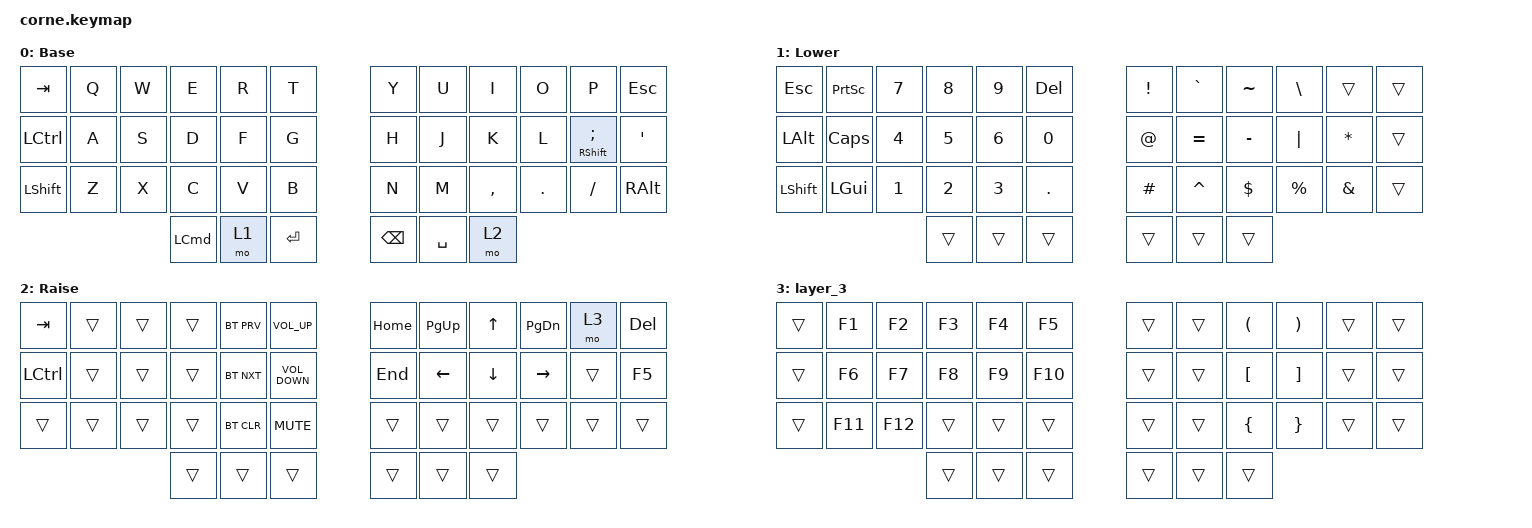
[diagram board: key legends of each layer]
/*
 * Copyright (c) 2020 The ZMK Contributors
 *
 * SPDX-License-Identifier: MIT
 */

#include <behaviors.dtsi>
#include <dt-bindings/zmk/bt.h>
#include <dt-bindings/zmk/keys.h>

/ {
    keymap {
        compatible = "zmk,keymap";

        default_layer {
            // -----------------------------------------------------------------------------------------
            // |  TAB |  Q  |  W  |  E  |  R  |  T  |   |  Y  |  U   |  I  |  O  |  P  | BKSP |
            // | CTRL |  A  |  S  |  D  |  F  |  G  |   |  H  |  J   |  K  |  L  |  ;  |  '   |
            // | SHFT |  Z  |  X  |  C  |  V  |  B  |   |  N  |  M   |  ,  |  .  |  /  | ESC  |
            //                    | GUI | LWR | SPC |   | ENT | RSE  | ALT |

            display-name = "Base";
            bindings = <
&kp TAB    &kp Q  &kp W  &kp E             &kp R  &kp T        &kp Y          &kp U      &kp I      &kp O    &kp P                      &kp ESCAPE
&kp LCTRL  &kp A  &kp S  &kp D             &kp F  &kp G        &kp H          &kp J      &kp K      &kp L    &mt RIGHT_SHIFT SEMICOLON  &kp SQT
&kp LSHFT  &kp Z  &kp X  &kp C             &kp V  &kp B        &kp N          &kp M      &kp COMMA  &kp DOT  &kp FSLH                   &kp RIGHT_ALT
                         &kp LEFT_COMMAND  &mo 1  &kp ENTER    &kp BACKSPACE  &kp SPACE  &mo 2
            >;
        };

        lower_layer {
            // -----------------------------------------------------------------------------------------
            // |  TAB |  1  |  2  |  3  |  4  |  5  |   |  6  |  7  |  8  |  9  |  0  | BKSP |
            // | BTCLR| BT1 | BT2 | BT3 | BT4 | BT5 |   | LFT | DWN |  UP | RGT |     |      |
            // | SHFT |     |     |     |     |     |   |     |     |     |     |     |      |
            //                    | GUI |     | SPC |   | ENT |     | ALT |

            display-name = "Lower";
            bindings = <
&kp ESCAPE    &kp PRINTSCREEN  &kp N7        &kp N8  &kp N9  &kp DELETE    &kp EXCLAMATION  &kp GRAVE  &kp TILDE   &kp BACKSLASH  &trans         &trans
&kp LEFT_ALT  &kp CAPS         &kp NUMBER_4  &kp N5  &kp N6  &kp N0        &kp AT_SIGN      &kp EQUAL  &kp MINUS   &kp PIPE       &kp ASTERISK   &trans
&kp LSHFT     &kp LEFT_GUI     &kp N1        &kp N2  &kp N3  &kp DOT       &kp HASH         &kp CARET  &kp DOLLAR  &kp PERCENT    &kp AMPERSAND  &trans
                                             &trans  &trans  &trans        &trans           &trans     &trans
            >;
        };

        raise_layer {
            // -----------------------------------------------------------------------------------------
            // |  TAB |  !  |  @  |  #  |  $  |  %  |   |  ^  |  &  |  *  |  (  |  )  | BKSP |
            // | CTRL |     |     |     |     |     |   |  -  |  =  |  [  |  ]  |  \  |  `   |
            // | SHFT |     |     |     |     |     |   |  _  |  +  |  {  |  }  | "|" |  ~   |
            //                    | GUI |     | SPC |   | ENT |     | ALT |

            display-name = "Raise";
            bindings = <
&kp TAB    &trans  &trans  &trans  &bt BT_PRV  &kp C_VOLUME_UP      &kp HOME  &kp PAGE_UP  &kp UP_ARROW  &kp PAGE_DOWN  &mo 3   &kp DEL
&kp LCTRL  &trans  &trans  &trans  &bt BT_NXT  &kp C_VOLUME_DOWN    &kp END   &kp LEFT     &kp DOWN      &kp RIGHT      &trans  &kp F5
&trans     &trans  &trans  &trans  &bt BT_CLR  &kp K_MUTE           &trans    &trans       &trans        &trans         &trans  &trans
                           &trans  &trans      &trans               &trans    &trans       &trans
            >;
        };

        layer_3 {
            bindings = <
&trans  &kp F1   &kp F2   &kp F3  &kp F4  &kp F5     &trans  &trans  &kp LEFT_PARENTHESIS  &kp RIGHT_PARENTHESIS  &trans  &trans
&trans  &kp F6   &kp F7   &kp F8  &kp F9  &kp F10    &trans  &trans  &kp LEFT_BRACKET      &kp RIGHT_BRACKET      &trans  &trans
&trans  &kp F11  &kp F12  &trans  &trans  &trans     &trans  &trans  &kp LEFT_BRACE        &kp RIGHT_BRACE        &trans  &trans
                          &trans  &trans  &trans     &trans  &trans  &trans
            >;
        };
    };
};
